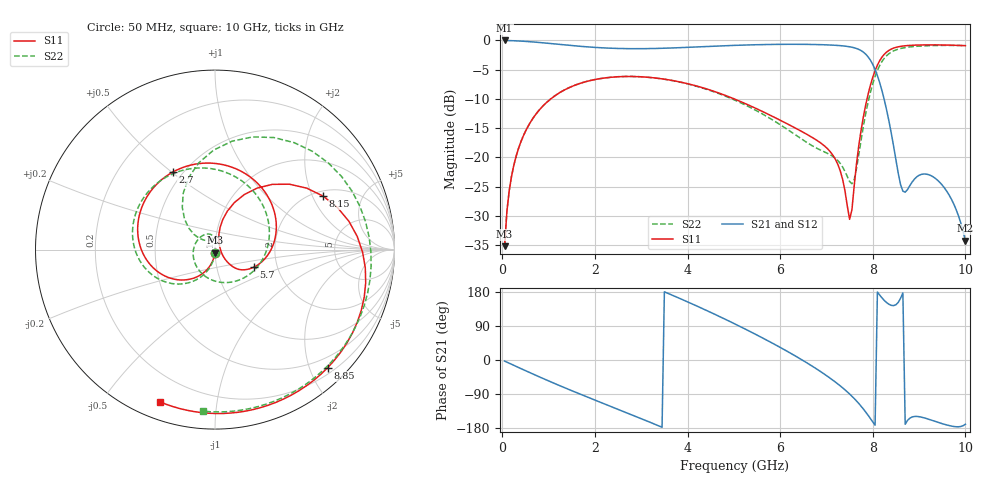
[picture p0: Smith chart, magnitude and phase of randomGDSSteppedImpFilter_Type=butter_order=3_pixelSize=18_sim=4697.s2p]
! freq	dB(S11)	phase(S11)	dB(S12)	phase(S12)
!  dB(S21)	phase(S21)	dB(S22)	phase(S22)
!S-par simulation data
#  GHz  S  DB  R 50
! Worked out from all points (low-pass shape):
!   200 points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, 50 MHz to 10 GHz, reference 50 ohm
!   highest |S21| = 0.00 dB at 50 MHz (marker M1); lowest = -34.3 dB at 10 GHz (marker M2)
!   |S21| within 3 dB of the highest: start of sweep to 7.916 GHz
!   lowest |S11| = -35.2 dB at 50 MHz (marker M3), VSWR 1.04, Z = 49.9 - j1.74 ohm
!   |S11| at or under -10 dB: start of sweep to 1.046 GHz; 5.009 GHz to 7.877 GHz (2.867 GHz wide, 44.5 % of centre)
!   |S22| runs from -35.2 to -0.8 dB; largest |S21 - S12| = 0
!   S11 on the Smith chart (normalised r, x): 50 MHz: 1.00, -0.03; 2.7 GHz: 0.44, +0.50; 5.7 GHz: 1.52, -0.31; 8.15 GHz: 2.22, +2.41; 8.85 GHz: 0.30, -2.30; 10 GHz: 0.08, -0.70
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0.05  -35.18 -93.0  -0.00 -2.9  -0.00 -2.9  -35.18 -92.6
0.2  -23.21 -102.4  -0.04 -11.4  -0.04 -11.4  -23.21 -100.8
0.5  -15.55 -120.6  -0.16 -28.1  -0.16 -28.1  -15.54 -116.6
1.1  -9.67 -155.4  -0.57 -60.4  -0.57 -60.4  -9.66 -146.7
1.75  -7.17 168.9  -1.05 -93.4  -1.05 -93.4  -7.16 -177.0
2.7  -6.16 118.7  -1.40 -139.9  -1.40 -139.9  -6.16 140.4
3.4  -6.51 81.8  -1.36 -175.0  -1.36 -175.0  -6.52 107.6
4.2  -7.80 40.0  -1.11 142.5  -1.11 142.5  -7.85 65.4
5.05  -10.13 -0.3  -0.83 93.5  -0.83 93.5  -10.31 10.1
5.7  -12.46 -24.2  -0.70 53.1  -0.70 53.1  -12.95 -44.4
6.25  -14.66 -37.4  -0.66 16.2  -0.66 16.2  -15.73 -103.7
6.7  -16.62 -43.0  -0.69 -16.8  -0.69 -16.8  -18.05 -166.1
7.25  -21.28 -44.5  -0.86 -63.6  -0.86 -63.6  -20.58 111.7
7.5  -30.59 7.1  -1.08 -89.7  -1.08 -89.7  -24.13 105.0
7.6  -24.79 68.3  -1.26 -101.7  -1.26 -101.7  -23.76 128.5
7.9  -9.18 62.0  -2.82 -146.0  -2.82 -146.0  -10.52 127.8
8.15  -3.45 26.3  -7.24 171.3  -7.24 171.3  -4.27 81.0
8.35  -1.70 -1.0  -13.82 147.0  -13.82 147.0  -2.26 45.2
8.65  -0.96 -31.2  -25.77 177.0  -25.77 177.0  -1.29 4.7
8.85  -0.83 -46.4  -24.22 -150.3  -24.22 -150.3  -1.07 -16.0
9.45  -0.77 -82.0  -24.30 -166.1  -24.30 -166.1  -0.86 -62.3
10  -0.90 -109.9  -34.26 -169.5  -34.26 -169.5  -0.89 -94.3
